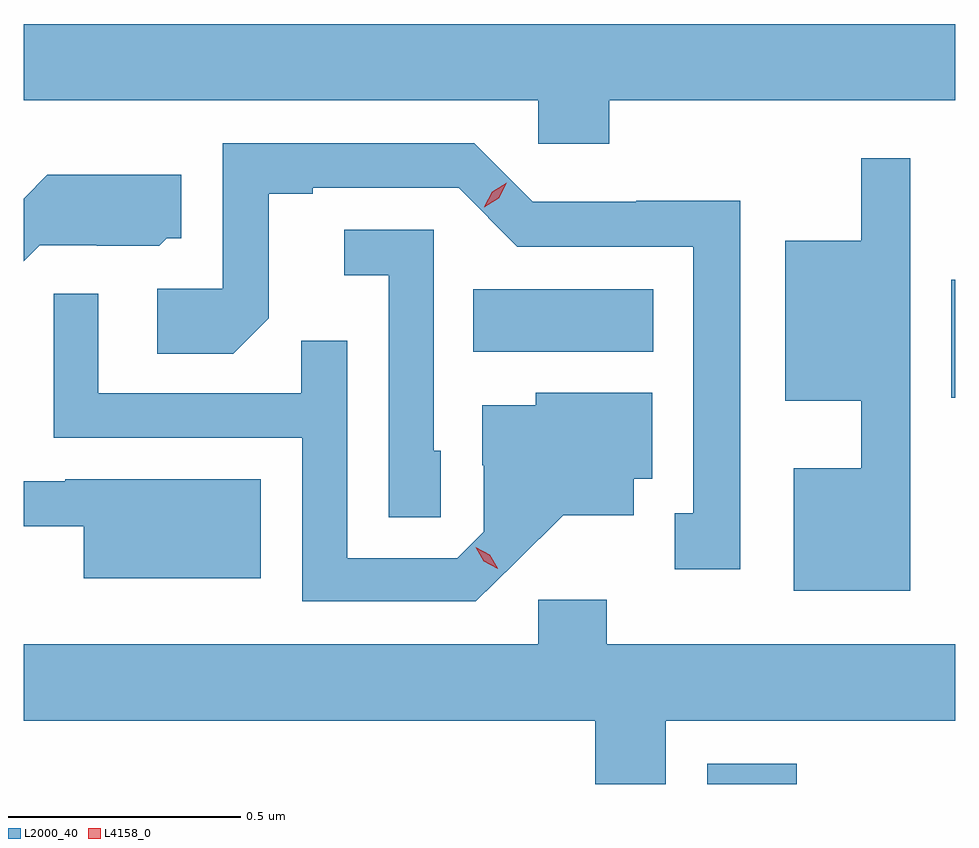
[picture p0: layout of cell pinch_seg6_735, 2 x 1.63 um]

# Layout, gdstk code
import gdstk
lib = gdstk.Library(unit=1e-6, precision=1e-09)
def R(c, l, rs):  # rectangles x0, y0, x1, y1
    for r in rs: c.add(gdstk.rectangle(r[:2], r[2:], *l))
def P(c, l, *ps):  # polygons
    for p in ps: c.add(gdstk.Polygon(p, *l))
L2000_40 = (2000, 40)
L4158_0 = (4158, 0)

pinch_seg6_735 = lib.new_cell('pinch_seg6_735')
R(pinch_seg6_735, L2000_40, [(601.185,943.204,601.377,943.248), (601.709,944.033,601.717,944.287), (600.682,944.132,601.069,944.266)])
P(pinch_seg6_735, L2000_40, [(600.974,944.672),(601.717,944.672),(601.717,944.836),(599.717,944.836),(599.717,944.672),(600.822,944.672),(600.822,944.579),(600.974,944.579)],
  [(601.255,944.456),(601.032,944.456),(601.032,944.454),(600.81,944.454),(600.684,944.58),(600.144,944.58),(600.144,944.268),(600.003,944.268),(600.003,944.128),(600.167,944.128),(600.243,944.204),(600.243,944.472),(600.337,944.472),(600.337,944.484),(600.651,944.484),(600.777,944.358),(601.154,944.358),(601.154,943.785),(601.115,943.785),(601.115,943.665),(601.255,943.665)],
  [(601.621,944.548),(601.515,944.548),(601.515,944.371),(601.352,944.371),(601.352,944.027),(601.515,944.027),(601.515,943.882),(601.37,943.882),(601.37,943.619),(601.621,943.619)],
  [(599.751,944.361),(599.874,944.361),(599.874,944.36),(600.008,944.36),(600.024,944.376),(600.055,944.376),(600.055,944.512),(599.767,944.512),(599.717,944.461),(599.717,944.327)],
  [(600.612,943.92),(600.597,943.92),(600.597,944.394),(600.405,944.394),(600.405,944.297),(600.501,944.297),(600.501,943.777),(600.612,943.777)],
  [(600.772,943.679),(600.875,943.781),(601.027,943.781),(601.027,943.86),(601.066,943.86),(601.066,944.044),(600.816,944.044),(600.816,944.017),(600.701,944.017),(600.701,943.888),(600.705,943.888),(600.705,943.746),(600.648,943.689),(600.411,943.689),(600.411,944.156),(600.313,944.156),(600.313,944.043),(599.877,944.043),(599.877,944.257),(599.781,944.257),(599.781,943.947),(600.315,943.947),(600.315,943.596),(600.688,943.596)],
  [(600.226,943.858),(599.806,943.858),(599.806,943.854),(599.717,943.854),(599.717,943.757),(599.846,943.757),(599.846,943.646),(600.226,943.646)],
  [(601.096,943.34),(601.717,943.34),(601.717,943.504),(600.969,943.504),(600.969,943.6),(600.822,943.6),(600.822,943.504),(599.717,943.504),(599.717,943.34),(600.944,943.34),(600.944,943.204),(601.096,943.204)])
P(pinch_seg6_735, L4158_0, [(600.706,944.443),(600.706,944.444),(600.723,944.476),(600.754,944.495),(600.754,944.495),(600.754,944.495),(600.737,944.462),(600.706,944.443)],
  [(600.735,943.666),(600.705,943.682),(600.688,943.712),(600.688,943.712),(600.688,943.712),(600.718,943.696),(600.735,943.667),(600.735,943.666)])

lib.write_gds('pinch_seg6_735.gds')
